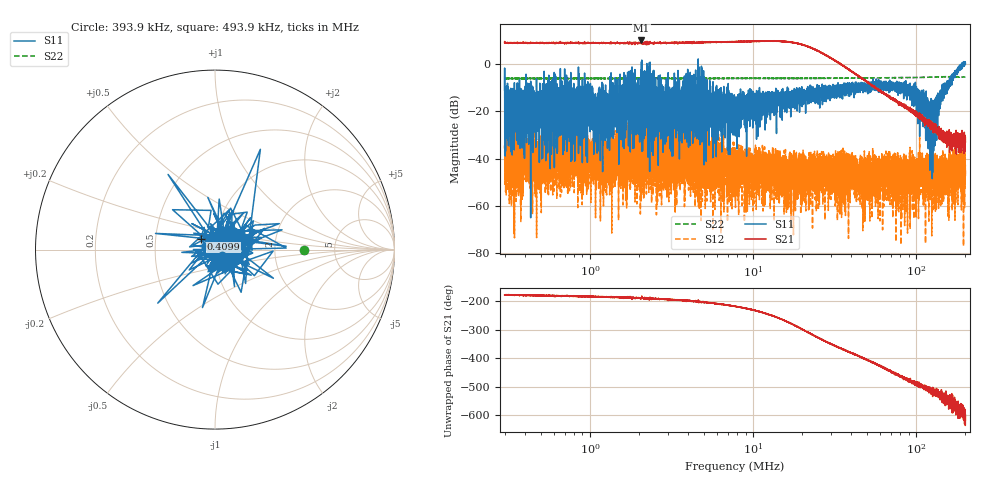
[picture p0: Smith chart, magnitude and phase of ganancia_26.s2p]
# Hz S DB R 50
! CMT, M5065, 19127446, 24.2.4/2
! Date: 11/1/2024 3:27:36 PM
! Data: Format (Calibration Info)
! Freq	S11:dB/Ang(F2)	S21:dB/Ang(F2)	S12:dB/Ang(F2)	S22:dB/Ang(F2)
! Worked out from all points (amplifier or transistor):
!   9000 points, 300 kHz to 200 MHz, reference 50 ohm
!   highest |S21| = 10.1 dB at 2.068 MHz (marker M1)
!   |S21| within 3 dB of that: start of sweep to 22.25 MHz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
!   unconditionally stable (mu >= 1): start of sweep to 2.067 MHz; 2.338 MHz to 4.445 MHz; 4.825 MHz to 190.4 MHz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
!   at 886.8 kHz: K = 34.61, MAG = 10.3 dB, |S12| = -48.4 dB
!   at 7.749 MHz: K = 17.67, MAG = 10.8 dB, |S12| = -43.1 dB
!   at 200 MHz: K = -207.26, MSG = 6.9 dB, |S12| = -44.8 dB
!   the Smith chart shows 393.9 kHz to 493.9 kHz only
!   S11 on the Smith chart (normalised r, x): 393.9 kHz: 1.07, -0.08; 409.9 kHz: 0.85, +0.10; 493.9 kHz: 0.99, -0.19
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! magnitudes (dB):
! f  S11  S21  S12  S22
! 300 kHz  -11.0  9.2  -35.8  -6.1
! 310.4 kHz  -19.7  9.0  -29.9  -6.0
! 325.3 kHz  -19.5  9.0  -33.8  -6.0
! 393.9 kHz  -25.5  9.0  -35.5  -6.1
! 409.9 kHz  -20.2  9.1  -34.1  -6.0
! 493.9 kHz  -20.6  9.0  -42.8  -6.1
! 579.4 kHz  -18.3  9.0  -38.2  -6.1
! 886.8 kHz  -26.8  9.0  -48.4  -6.0
! 2.068 MHz  1.0  10.1  -41.7  -6.0
! 2.469 MHz  -20.4  9.0  -42.4  -6.0
! 2.621 MHz  -19.4  9.0  -40.3  -6.1
! 3.455 MHz  -15.1  9.1  -46.7  -6.0
! 4.053 MHz  -17.7  9.3  -29.7  -5.9
! 4.282 MHz  -25.9  9.1  -41.4  -6.0
! 4.549 MHz  -19.3  9.1  -37.4  -6.0
! 7.749 MHz  -20.6  9.5  -43.1  -6.0
! 22.91 MHz  -11.7  6.8  -44.9  -6.0
! 67.71 MHz  -8.8  -13.4  -39.4  -5.7
! 98.3 MHz  -17.2  -20.3  -44.6  -5.6
! 124.3 MHz  -21.1  -26.6  -41.8  -5.5
! 148.4 MHz  -9.1  -28.7  -44.9  -5.3
! 200 MHz  0.4  -31.1  -44.8  -5.4
